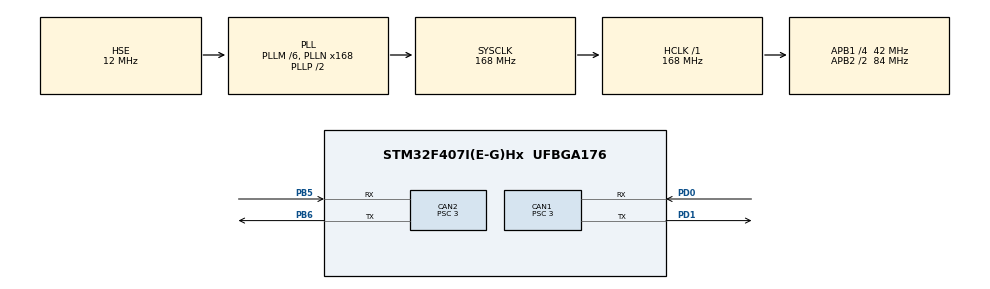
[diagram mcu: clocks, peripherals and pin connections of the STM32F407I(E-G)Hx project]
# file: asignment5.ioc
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CAN1.BS1=CAN_BS1_10TQ
CAN1.BS2=CAN_BS2_3TQ
CAN1.CalculateBaudRate=1000000
CAN1.CalculateTimeBit=1000
CAN1.CalculateTimeQuantum=71.42857142857143
CAN1.Prescaler=3
CAN1.TXFP=ENABLE
CAN2.BS1=CAN_BS1_10TQ
CAN2.BS2=CAN_BS2_3TQ
CAN2.CalculateBaudRate=1000000
CAN2.CalculateTimeBit=1000
CAN2.CalculateTimeQuantum=71.42857142857143
CAN2.Prescaler=3
CAN2.TXFP=ENABLE
Mcu.Family=STM32F4
Mcu.Name=STM32F407I(E-G)Hx
Mcu.Package=UFBGA176
NVIC.CAN1_RX0_IRQn=true\:0\:0\:false\:false\:true\:true\:true\:true
NVIC.CAN1_RX1_IRQn=true\:0\:0\:false\:false\:true\:true\:true\:true
NVIC.CAN2_RX0_IRQn=true\:0\:0\:false\:false\:true\:true\:true\:true
NVIC.CAN2_RX1_IRQn=true\:0\:0\:false\:false\:true\:true\:true\:true
NVIC.PriorityGroup=NVIC_PRIORITYGROUP_4
PA13.Mode=Serial_Wire
PA13.Signal=SYS_JTMS-SWDIO
PA14.Mode=Serial_Wire
PA14.Signal=SYS_JTCK-SWCLK
PB5.Mode=CAN_Activate
PB5.Signal=CAN2_RX
PB6.Mode=CAN_Activate
PB6.Signal=CAN2_TX
PD0.Mode=CAN_Activate
PD0.Signal=CAN1_RX
PD1.Mode=CAN_Activate
PD1.Signal=CAN1_TX
PH0-OSC_IN.Mode=HSE-External-Oscillator
PH0-OSC_IN.Signal=RCC_OSC_IN
PH1-OSC_OUT.Mode=HSE-External-Oscillator
PH1-OSC_OUT.Signal=RCC_OSC_OUT
ProjectManager.HeapSize=0x200
ProjectManager.StackSize=0x400
ProjectManager.TargetToolchain=Makefile
RCC.48MHZClocksFreq_Value=84000000
RCC.AHBFreq_Value=168000000
RCC.APB1CLKDivider=RCC_HCLK_DIV4
RCC.APB1Freq_Value=42000000
RCC.APB1TimFreq_Value=84000000
RCC.APB2CLKDivider=RCC_HCLK_DIV2
RCC.APB2Freq_Value=84000000
RCC.APB2TimFreq_Value=168000000
RCC.CortexFreq_Value=168000000
RCC.HCLKFreq_Value=168000000
RCC.HSE_VALUE=12000000
RCC.HSI_VALUE=16000000
RCC.LSE_VALUE=32768
RCC.PLLM=6
RCC.PLLN=168
RCC.PLLSourceVirtual=RCC_PLLSOURCE_HSE
RCC.SYSCLKFreq_VALUE=168000000
RCC.SYSCLKSource=RCC_SYSCLKSOURCE_PLLCLK
RCC.VCOOutputFreq_Value=336000000
board=custom

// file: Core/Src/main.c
/* USER CODE BEGIN Header */
/**
  ******************************************************************************
  * @file           : main.c
  * @brief          : Main program body
  ******************************************************************************
  * @attention
  *
  * Copyright (c) 2026 STMicroelectronics.
  * All rights reserved.
  *
  * This software is licensed under terms that can be found in the LICENSE file
  * in the root directory of this software component.
  * If no LICENSE file comes with this software, it is provided AS-IS.
  *
  ******************************************************************************
  */
/* USER CODE END Header */
#include "main.h"
#include "can.h"
#include "gpio.h"

/* USER CODE BEGIN Includes */
#include "math.h"
#include <memory.h>
#include <stdlib.h>
/* USER CODE END Includes */

/* USER CODE BEGIN PD */
typedef struct
{
  CAN_HandleTypeDef* can_handle;
  CAN_TxHeaderTypeDef txconf;
  uint32_t tx_id;
  uint32_t tx_mailbox;
  uint8_t  tx_buff[8];
  uint8_t  rx_buff[8];
  uint32_t rx_id;
  uint8_t  rx_len;
}CANInstance;
typedef struct
{
  uint16_t ecd;
  int16_t  speed_rpm;
  int16_t  real_current;
  uint8_t  temperature;
  int16_t  real_current_handle;
  float    speed_aps;
  uint16_t last_ecd;
  float    angle_single_round;
  float    angle_total;
  int32_t  total_round;
}DJL_MOTOR_MEASURE;

/* USER CODE END PD */

/* USER CODE BEGIN PM */
static void CANFIFOxCallback(CAN_HandleTypeDef *_hcan, uint32_t fifox);
void MotorDataRead(void);
/* USER CODE END PM */

/* USER CODE BEGIN PV */
float t=0.0f;
CANInstance motor1;
DJL_MOTOR_MEASURE motor1_measure;
int16_t current;
float current_fitter=0.1f;
/* USER CODE END PV */

void SystemClock_Config(void);

int main(void)
{

  /* MCU Configuration--------------------------------------------------------*/

  /* Reset of all peripherals, Initializes the Flash interface and the Systick. */
  HAL_Init();

  /* Configure the system clock */
  SystemClock_Config();

  /* Initialize all configured peripherals */
  MX_GPIO_Init();
  MX_CAN1_Init();
  MX_CAN2_Init();
  /* USER CODE BEGIN 2 */
  motor1.txconf.StdId = 0x200;
  motor1.txconf.IDE = CAN_ID_STD;
  motor1.txconf.RTR = CAN_RTR_DATA;
  motor1.txconf.DLC = 8;
  motor1.can_handle = &hcan1;
  motor1.tx_id = 0x200;
  motor1.rx_id = 0x201;
  CAN_FilterTypeDef can_filter_conf;
  static uint8_t can1_filter_idx = 0, can2_filter_idx = 14;
  can_filter_conf.FilterMode = CAN_FILTERMODE_IDLIST;
  can_filter_conf.FilterScale = CAN_FILTERSCALE_16BIT;
  can_filter_conf.FilterFIFOAssignment = (motor1.tx_id & 1) ? CAN_RX_FIFO0 : CAN_RX_FIFO1;
  can_filter_conf.SlaveStartFilterBank = 14;
  can_filter_conf.FilterIdHigh = motor1.rx_id << 5;
  can_filter_conf.FilterIdLow = motor1.rx_id << 5;
  can_filter_conf.FilterMaskIdHigh = motor1.rx_id << 5;
  can_filter_conf.FilterMaskIdLow  = motor1.rx_id << 5;
  can_filter_conf.FilterBank = motor1.can_handle == &hcan1 ? (can1_filter_idx++) : (can2_filter_idx++);
  can_filter_conf.FilterActivation = CAN_FILTER_ENABLE;
  HAL_CAN_ConfigFilter(motor1.can_handle, &can_filter_conf);
  HAL_CAN_Start(&hcan1);
  HAL_CAN_ActivateNotification(&hcan1,CAN_IT_RX_FIFO0_MSG_PENDING);
  HAL_CAN_ActivateNotification(&hcan1,CAN_IT_RX_FIFO1_MSG_PENDING);
  /* USER CODE END 2 */

  /* Infinite loop */
  while (1)
  {

    /* USER CODE BEGIN 3 */
    current=1000*sin(t*M_PI);
    t+=0.02f;
    if(HAL_CAN_GetTxMailboxesFreeLevel(motor1.can_handle) == 0);
else
{
    motor1.tx_buff[0]=(uint8_t)(current >> 8);
    motor1.tx_buff[1]=(uint8_t)(current & 0x00ff);
    motor1.tx_buff[2]=0;
    motor1.tx_buff[3]=0;
    motor1.tx_buff[4]=0;
    motor1.tx_buff[5]=0;
    motor1.tx_buff[6]=0;
    motor1.tx_buff[7]=0;
    HAL_CAN_AddTxMessage(motor1.can_handle, &motor1.txconf, motor1.tx_buff, &motor1.tx_mailbox);
}
    HAL_Delay(10);
  }
  /* USER CODE END 3 */
}

void SystemClock_Config(void)
{
  RCC_OscInitTypeDef RCC_OscInitStruct = {0};
  RCC_ClkInitTypeDef RCC_ClkInitStruct = {0};

  /** Configure the main internal regulator output voltage
  */
  __HAL_RCC_PWR_CLK_ENABLE();
  __HAL_PWR_VOLTAGESCALING_CONFIG(PWR_REGULATOR_VOLTAGE_SCALE1);

  /** Initializes the RCC Oscillators according to the specified parameters
  * in the RCC_OscInitTypeDef structure.
  */
  RCC_OscInitStruct.OscillatorType = RCC_OSCILLATORTYPE_HSE;
  RCC_OscInitStruct.HSEState = RCC_HSE_ON;
  RCC_OscInitStruct.PLL.PLLState = RCC_PLL_ON;
  RCC_OscInitStruct.PLL.PLLSource = RCC_PLLSOURCE_HSE;
  RCC_OscInitStruct.PLL.PLLM = 6;
  RCC_OscInitStruct.PLL.PLLN = 168;
  RCC_OscInitStruct.PLL.PLLP = RCC_PLLP_DIV2;
  RCC_OscInitStruct.PLL.PLLQ = 4;
  if (HAL_RCC_OscConfig(&RCC_OscInitStruct) != HAL_OK)
  {
    Error_Handler();
  }

  /** Initializes the CPU, AHB and APB buses clocks
  */
  RCC_ClkInitStruct.ClockType = RCC_CLOCKTYPE_HCLK|RCC_CLOCKTYPE_SYSCLK
                              |RCC_CLOCKTYPE_PCLK1|RCC_CLOCKTYPE_PCLK2;
  RCC_ClkInitStruct.SYSCLKSource = RCC_SYSCLKSOURCE_PLLCLK;
  RCC_ClkInitStruct.AHBCLKDivider = RCC_SYSCLK_DIV1;
  RCC_ClkInitStruct.APB1CLKDivider = RCC_HCLK_DIV4;
  RCC_ClkInitStruct.APB2CLKDivider = RCC_HCLK_DIV2;

  if (HAL_RCC_ClockConfig(&RCC_ClkInitStruct, FLASH_LATENCY_5) != HAL_OK)
  {
    Error_Handler();
  }
}

/* USER CODE BEGIN 4 */
void HAL_CAN_RxFifo0MsgPendingCallback(CAN_HandleTypeDef *hcan){
  CANFIFOxCallback(hcan, CAN_RX_FIFO0);
}
void HAL_CAN_RxFifo1MsgPendingCallback(CAN_HandleTypeDef *hcan){
  CANFIFOxCallback(hcan, CAN_RX_FIFO1);
}
void CANFIFOxCallback(CAN_HandleTypeDef *_hcan, uint32_t fifox)
{
    static CAN_RxHeaderTypeDef rxconf;
    uint8_t can_rx_buff[8];
    while (HAL_CAN_GetRxFifoFillLevel(_hcan, fifox))
    {
        HAL_CAN_GetRxMessage(_hcan, fifox, &rxconf, can_rx_buff);
        if (_hcan == motor1.can_handle && rxconf.StdId == motor1.rx_id)
        {
            motor1.rx_len = rxconf.DLC;
            memcpy(motor1.rx_buff, can_rx_buff, rxconf.DLC);
            motor1_measure.last_ecd = motor1_measure.ecd;
            MotorDataRead();
            motor1_measure.angle_single_round = (360.0f/8192) * (float)motor1_measure.ecd;
            motor1_measure.speed_aps = (1.0f - 0.85f) * motor1_measure.speed_aps + 0.85f * (360.0f / 60.0f) * (float)motor1_measure.speed_rpm;
            motor1_measure.real_current_handle = (1.0f - current_fitter) * motor1_measure.real_current_handle + current_fitter * (float)motor1_measure.real_current;
            if (motor1_measure.ecd - motor1_measure.last_ecd > 4096)
                motor1_measure.total_round--;
            else if (motor1_measure.ecd - motor1_measure.last_ecd < -4096)
                motor1_measure.total_round++;
            motor1_measure.angle_total = motor1_measure.total_round * 360 + motor1_measure.angle_single_round;
        }
    }
}
void MotorDataRead(void){
motor1_measure.ecd          = (uint16_t)((motor1.rx_buff[0] << 8) | motor1.rx_buff[1]);
motor1_measure.speed_rpm    = (int16_t) ((motor1.rx_buff[2] << 8) | motor1.rx_buff[3]);
motor1_measure.real_current = (int16_t) ((motor1.rx_buff[4] << 8) | motor1.rx_buff[5]);
motor1_measure.temperature  =  motor1.rx_buff[6];
}
/* USER CODE END 4 */

void Error_Handler(void)
{
  __disable_irq();
  while (1)
  {
  }
}
